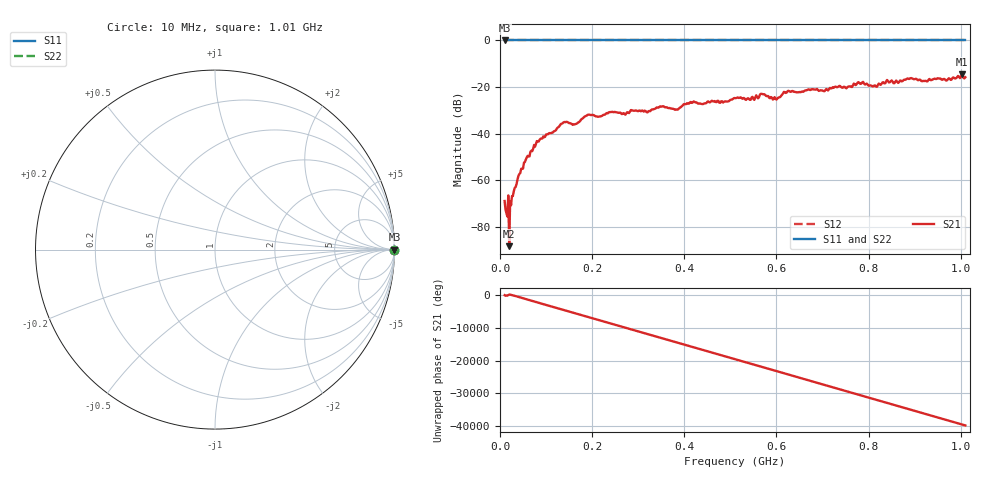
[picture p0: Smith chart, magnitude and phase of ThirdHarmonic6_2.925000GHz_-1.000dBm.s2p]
! 8/17/2025 8:09:12 AM
! C:\ANRITSUVNA\TEMP\TEMP.S2P
! CHANNEL.1
! TR.MEASUREMENT
! RAW.DATA
! RF.CORRECTION.OFF
! AVERAGING.OFF
! IF.BANDWIDTH: 5KHZ
! SWEEPTYPE:  FREQ.SWEEP(Linear)
! Reference Plane Port Info
! PORT:  PORT1  PORT2
! DISTANCE:  0  m  0  m
! TIME:  0  s  0  s
! PHASE.OFFSET:  0  deg.  0  deg.
! LOSS:  0  dB  0  dB
! REF.LOSS:  0  dB  0  dB
! REF.FREQ:  0  Hz  0  Hz
! Power Info
! POWER:  -20  dBm  -20  dBm
! EFF.POWER:  -20  dBm  -20  dBm
! SOURCE.ATTEN:  0  dB  0  dB
! TEST.ATTEN:  0  dB  0  dB
# GHZ S RI R 50.0
! FREQ.GHZ  S11RE  S11IM  S21RE  S21IM  S12RE  S12IM  S22RE  S22IM
!; PortSelection: Port_12
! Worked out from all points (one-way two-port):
!   501 points, 10 MHz to 1.01 GHz, reference 50 ohm
!   highest |S21| = -14.60 dB at 1.002 GHz (marker M1); lowest = -88.4 dB at 20 MHz (marker M2)
!   lowest |S11| = 0.0 dB at 10 MHz (marker M3)
!   |S11| at or under -10 dB: nowhere
!   |S22| runs from 0.0 to 0.0 dB; largest |S21 - S12| = 1.2
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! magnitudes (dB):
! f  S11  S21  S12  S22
! 10 MHz  0.0  -69.0  0.0  0.0
! 16 MHz  0.0  -75.6  0.0  0.0
! 20 MHz  0.0  -88.4  0.0  0.0
! 42 MHz  0.0  -57.4  0.0  0.0
! 78 MHz  0.0  -44.4  0.0  0.0
! 136 MHz  0.0  -35.5  0.0  0.0
! 162 MHz  0.0  -36.1  0.0  0.0
! 178 MHz  0.0  -33.7  0.0  0.0
! 344 MHz  0.0  -28.9  0.0  0.0
! 382 MHz  0.0  -29.6  0.0  0.0
! 416 MHz  0.0  -26.8  0.0  0.0
! 510 MHz  0.0  -24.8  0.0  0.0
! 548 MHz  0.0  -24.2  0.0  0.0
! 570 MHz  0.0  -23.1  0.0  0.0
! 596 MHz  0.0  -24.3  0.0  0.0
! 622 MHz  0.0  -22.4  0.0  0.0
! 678 MHz  0.0  -20.9  0.0  0.0
! 782 MHz  0.0  -18.6  0.0  0.0
! 814 MHz  0.0  -19.3  0.0  0.0
! 844 MHz  0.0  -18.0  0.0  0.0
! 1.002 GHz  0.0  -14.6  0.0  0.0
! 1.01 GHz  0.0  -15.8  0.0  0.0
